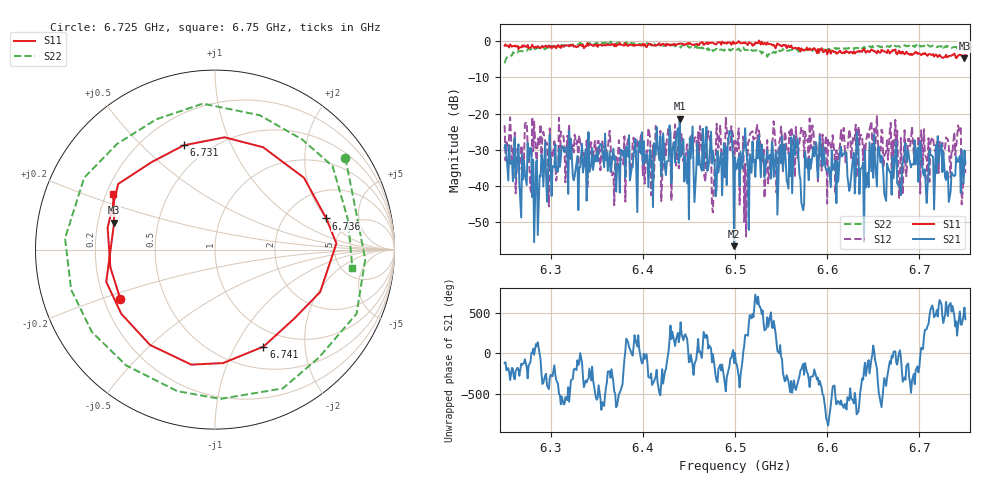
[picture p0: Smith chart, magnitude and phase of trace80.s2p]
# Hz S RI R 50
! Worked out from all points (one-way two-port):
!   401 points, 6.25 GHz to 6.75 GHz, reference 50 ohm
!   highest |S21| = -21.44 dB at 6.44 GHz (marker M1); lowest = -56.7 dB at 6.499 GHz (marker M2)
!   lowest |S11| = -4.7 dB at 6.749 GHz (marker M3), VSWR 3.78, Z = 13.4 + j6.06 ohm
!   |S11| at or under -10 dB: nowhere
!   |S22| runs from -6.1 to -0.1 dB; largest |S21 - S12| = 0.12
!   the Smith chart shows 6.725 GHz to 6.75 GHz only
!   S11 on the Smith chart (normalised r, x): 6.725 GHz: 0.27, -0.23; 6.731 GHz: 0.37, +0.68; 6.736 GHz: 3.36, +1.99; 6.741 GHz: 0.77, -1.31; 6.75 GHz: 0.23, +0.24
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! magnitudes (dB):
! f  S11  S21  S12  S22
! 6.25 GHz  -1.2  -29.5  -23.3  -6.1
! 6.285 GHz  -1.7  -32.9  -33.1  -1.7
! 6.334 GHz  -1.3  -28.3  -29.4  -0.7
! 6.418 GHz  -0.5  -32.9  -32.3  -1.0
! 6.44 GHz  -0.7  -21.4  -31.2  -1.5
! 6.448 GHz  -0.6  -39.3  -28.5  -1.0
! 6.476 GHz  -0.4  -30.3  -47.3  -2.7
! 6.495 GHz  -0.4  -25.3  -30.2  -2.6
! 6.499 GHz  -0.7  -56.7  -36.5  -2.3
! 6.5 GHz  -0.6  -32.0  -27.4  -2.5
! 6.51 GHz  -0.5  -29.1  -50.0  -2.2
! 6.516 GHz  -0.4  -31.2  -25.7  -1.9
! 6.566 GHz  -1.8  -28.5  -23.7  -2.1
! 6.572 GHz  -2.0  -44.6  -23.7  -2.4
! 6.584 GHz  -2.3  -31.8  -23.3  -2.6
! 6.668 GHz  -3.4  -36.2  -24.6  -1.6
! 6.725 GHz  -4.5  -36.2  -28.0  -1.0
! 6.731 GHz  -4.3  -36.4  -27.2  -1.3
! 6.736 GHz  -3.8  -36.8  -30.5  -1.7
! 6.741 GHz  -4.4  -33.3  -26.9  -1.9
! 6.749 GHz  -4.7  -30.2  -32.3  -2.4
! 6.75 GHz  -3.8  -33.7  -36.4  -2.2
